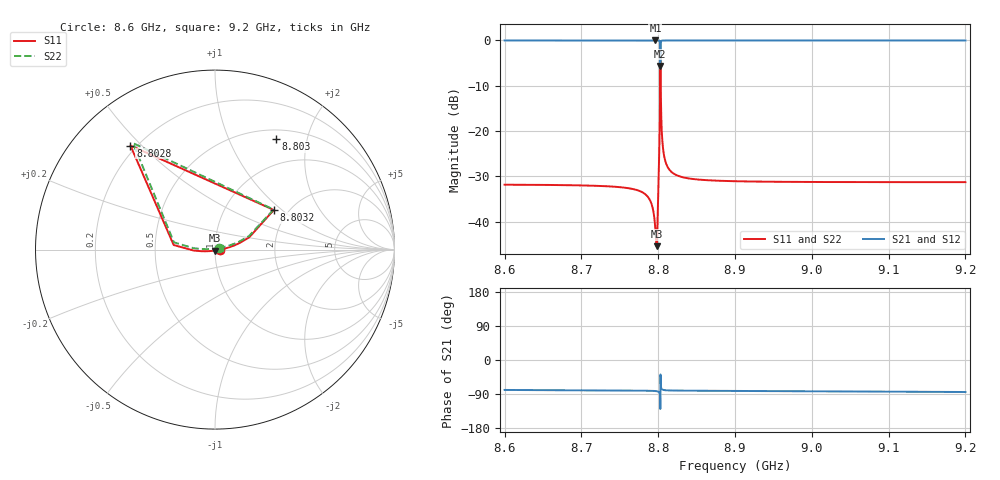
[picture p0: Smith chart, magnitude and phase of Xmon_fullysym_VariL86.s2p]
! Sonnet Data File
! From: emgraph Version : 16.52
! From Project: 171117_Xmon_fullysym
! Data is De-embedded
! Data File Written: 11/26/2017 21:44:45
!< HDATE 11/26/2017 17:24:49
!< MDATE 11/26/2017 17:24:49
!< PARAMS
!< Lj = 11.0
!< Gap = 1.0
!< Pwid = 2000.0
!< Airgap = 6.0
!< Width = 10.0
!< Lj1 = 8.6
!< END PARAMS
# GHZ S MA R 50.90000
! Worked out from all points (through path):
!   3001 points, 8.6 GHz to 9.2 GHz, reference 50.9 ohm
!   highest |S21| = 0.00 dB at 8.7964 GHz (marker M1); lowest = -5.6 dB at 8.8028 GHz (marker M2)
!   lowest |S11| = -45.4 dB at 8.7978 GHz (marker M3), VSWR 1.01, Z = 51 - j0.535 ohm
!   |S11| at or under -10 dB: start of sweep to 8.8025 GHz; 8.8033 GHz to end of sweep
!   |S22| runs from -45.1 to -2.5 dB; largest |S21 - S12| = 1.7e-11
!   S11 on the Smith chart (normalised r, x): 8.6 GHz: 1.05, -0.00; 8.8028 GHz: 0.18, +0.46; 8.803 GHz: 0.62, +1.51; 8.8032 GHz: 1.68, +0.88; 9.2 GHz: 1.06, -0.01
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8.6  0.02564 -0.3  0.9997 -79.0  0.9997 -79.0  0.02564 22.3
!< P1 F=8.6 Eeff=(6.44845572 -2.9799e-5) Z0=(50.9087207 1.17006e-4) R=0.0 C=0.0
!< P2 F=8.6 Eeff=(6.44845572 -2.9799e-5) Z0=(50.9087207 1.17006e-4) R=0.0 C=0.0
8.7  0.02518 -1.7  0.9997 -80.0  0.9997 -80.0  0.02518 21.8
8.7794  0.02114 -5.3  0.9998 -80.9  0.9998 -80.9  0.02115 23.4
8.7902  0.01665 -9.8  0.9998 -81.3  0.9998 -81.3  0.01666 27.3
8.7964  0.008033 -33.6  0.9999 -81.9  0.9999 -81.9  0.008115 50.4
8.7978  0.005381 -77.1  0.9999 -82.3  0.9999 -82.3  0.005574 92.7
8.7992  0.01067 -142.6  0.9998 -82.8  0.9998 -82.8  0.01085 155.3
8.8002  0.02296 -160.2  0.9994 -83.6  0.9994 -83.6  0.02312 171.3
8.8016  0.07479 -173.0  0.9957 -86.6  0.9957 -86.6  0.07501 177.6
8.8028  0.7472 129.1  0.5222 -129.2  0.5222 -129.2  0.7485 127.6
8.803  0.7037 61.3  0.6055 -38.3  0.6055 -38.3  0.7047 60.7
8.8032  0.3951 34.0  0.8964 -59.1  0.8964 -59.1  0.3956 34.3
8.805  0.08731 10.0  0.9956 -77.3  0.9956 -77.3  0.08738 16.0
8.806  0.06781 7.7  0.9974 -78.5  0.9974 -78.5  0.06786 15.8
8.8072  0.05632 6.0  0.9983 -79.2  0.9983 -79.2  0.05635 16.0
8.8098  0.0451 3.8  0.9989 -79.8  0.9989 -79.8  0.04512 16.7
8.8196  0.03423 0.8  0.9994 -80.5  0.9994 -80.5  0.03423 18.1
8.844  0.02972 -1.2  0.9996 -81.0  0.9996 -81.0  0.02972 19.1
8.9002  0.028 -2.6  0.9996 -81.7  0.9996 -81.7  0.028 19.3
9.0002  0.02747 -4.0  0.9996 -82.6  0.9996 -82.6  0.02747 18.8
9.1  0.02737 -5.2  0.9996 -83.5  0.9996 -83.5  0.02737 18.1
9.2  0.02736 -6.3  0.9996 -84.5  0.9996 -84.5  0.02736 17.4
